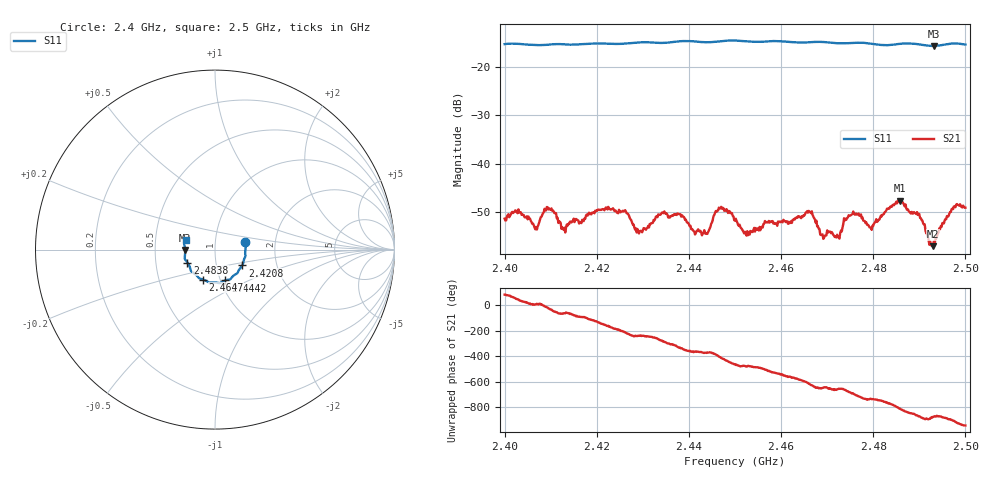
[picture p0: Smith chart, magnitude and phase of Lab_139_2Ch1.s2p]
# Hz S RI R 50
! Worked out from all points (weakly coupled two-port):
!   601 points, 2.4 GHz to 2.5 GHz, reference 50 ohm
!   highest |S21| = -47.62 dB at 2.4858 GHz (marker M1); lowest = -57.0 dB at 2.493 GHz (marker M2)
!   lowest |S11| = -15.6 dB at 2.4932 GHz (marker M3), VSWR 1.40, Z = 35.8 - j0.103 ohm
!   |S11| at or under -10 dB: start of sweep to end of sweep
!   S12 and S22 are empty: the file has one direction only
!   S11 on the Smith chart (normalised r, x): 2.4 GHz: 1.40, +0.12; 2.4208 GHz: 1.33, -0.24; 2.4442 GHz: 1.05, -0.37; 2.4647 GHz: 0.83, -0.29; 2.4838 GHz: 0.73, -0.11; 2.5 GHz: 0.72, +0.08
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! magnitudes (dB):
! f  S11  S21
! 2.4 GHz  -15.2  -51.3
! 2.4167 GHz  -15.3  -52.3
! 2.4208 GHz  -15.1  -49.5
! 2.4295 GHz  -14.9  -53.9
! 2.4333 GHz  -15.0  -50.5
! 2.4442 GHz  -14.8  -54.1
! 2.4468 GHz  -14.7  -49.3
! 2.45 GHz  -14.5  -51.8
! 2.4527 GHz  -14.7  -54.0
! 2.4647 GHz  -14.9  -51.0
! 2.4667 GHz  -14.8  -49.8
! 2.469 GHz  -14.8  -54.6
! 2.4722 GHz  -15.1  -54.7
! 2.4752 GHz  -15.0  -50.6
! 2.4795 GHz  -15.2  -53.2
! 2.4833 GHz  -15.4  -49.3
! 2.4838 GHz  -15.4  -48.8
! 2.4858 GHz  -15.2  -47.6
! 2.493 GHz  -15.6  -57.0
! 2.4932 GHz  -15.6  -56.1
! 2.4972 GHz  -15.1  -49.3
! 2.5 GHz  -15.3  -49.1
